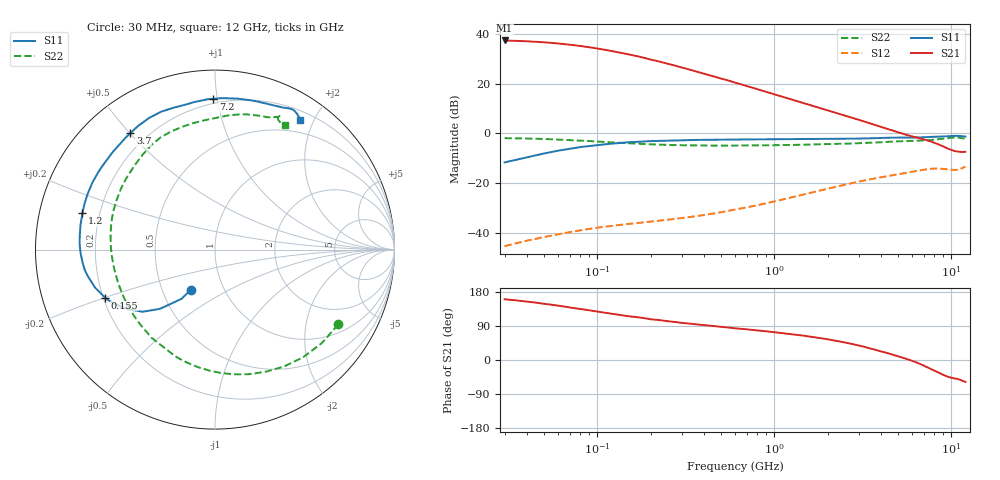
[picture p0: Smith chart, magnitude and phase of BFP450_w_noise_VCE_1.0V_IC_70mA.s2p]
! (c) 2015  Infineon Technologies AG, Munich
! Infineon Technologies  Discrete & RF Semiconductors
! BFP450
! VCE =  1.0 V,  IC =  70 mA
! Common Emitter S-Parameters:  Nov 2015
# GHz  S  MA  R  50
!  f  S11  S21  S12  S22
! GHz  MAG  ANG  MAG  ANG  MAG  ANG  MAG  ANG
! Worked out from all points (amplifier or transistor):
!   239 points, 30 MHz to 12 GHz, reference 50 ohm
!   highest |S21| = 37.3 dB at 30 MHz (marker M1)
!   |S21| within 3 dB of that: start of sweep to 95.65 MHz
!   unconditionally stable (mu >= 1): 942.7 MHz to end of sweep
!   at 300 MHz: K = 0.66, MSG = 30.2 dB, |S12| = -33.9 dB
!   at 1.88 GHz: K = 1.09, MAG = 14.4 dB, |S12| = -22.6 dB
!   at 12 GHz: K = 1.08, MAG = 1.3 dB, |S12| = -13.3 dB
!   lowest NFmin = 1.81 dB at 450 MHz
!   S11 on the Smith chart (normalised r, x): 30 MHz: 0.69, -0.33; 155 MHz: 0.21, -0.20; 1.2 GHz: 0.13, +0.13; 3.7 GHz: 0.14, +0.50; 7.2 GHz: 0.17, +0.97; 12 GHz: 0.31, +1.81
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0.03  0.2625 -121.2  72.87 160.2  0.0055 77.1  0.8038 -31.2
0.04  0.3314 -124.2  70.19 154.2  0.0071 71.7  0.7909 -41.2
0.05  0.3953 -129.5  67.05 148.4  0.0084 66.9  0.7751 -50.7
0.06  0.4501 -132.9  63.47 143.5  0.0095 63.4  0.7563 -59.4
0.07  0.4909 -136.4  59.94 138.6  0.0105 60.8  0.7372 -67.3
0.085  0.545 -141.0  54.95 133.0  0.0118 57.0  0.7104 -77.9
0.11  0.6052 -147.6  47.58 124.8  0.0135 52.7  0.6746 -92.8
0.13  0.6375 -151.8  42.53 119.8  0.0145 50.1  0.652 -102.4
0.155  0.6684 -156.4  37.45 114.9  0.0155 48.6  0.6296 -111.8
0.2  0.701 -162.4  30.18 107.6  0.0171 47.4  0.6052 -125.5
0.24  0.7151 -166.1  25.88 103.5  0.0183 47.6  0.5907 -133.9
0.3  0.7327 -170.5  20.89 98.0  0.0201 48.4  0.58 -143.9
0.36  0.74 -173.8  17.54 94.3  0.0219 49.7  0.5742 -150.9
0.45  0.7477 -177.7  14 89.5  0.0247 51.6  0.5707 -158.7
0.6  0.7549 177.5  10.41 83.7  0.0296 54.2  0.571 -167.6
0.8  0.7588 172.5  7.689 78.0  0.0363 55.9  0.5751 -175.6
1.2  0.7663 164.7  4.99 69.3  0.0504 55.8  0.5862 173.3
1.64  0.7734 157.1  3.583 61.0  0.0657 53.0  0.5984 164.0
3.7  0.802 126.0  1.484 27.3  0.1255 30.2  0.6554 130.6
4.5  0.8204 116.6  1.179 16.1  0.142 21.9  0.6823 121.2
7.2  0.8403 90.6  0.736 -17.7  0.1901 -6.4  0.7251 93.4
12  0.8661 56.7  0.429 -57.9  0.2153 -42.9  0.799 60.6
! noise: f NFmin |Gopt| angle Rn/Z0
0.45  1.81  0.59  -172  0.06
0.9  1.85  0.61  -167  0.07
1.9  1.95  0.64  -151  0.13
2.4  2.04  0.64  -142  0.18
